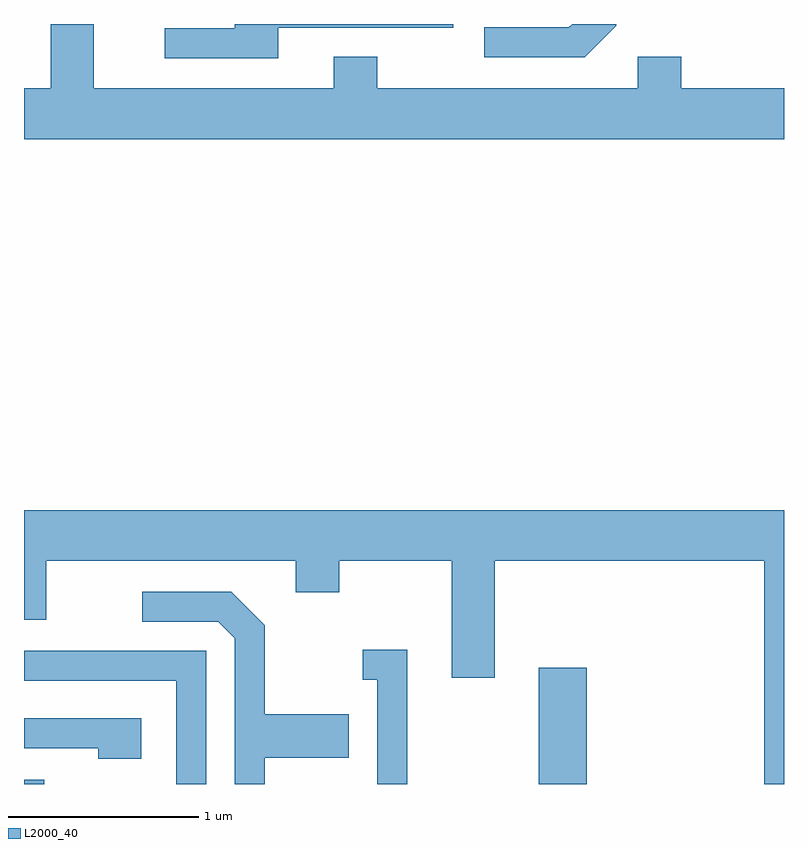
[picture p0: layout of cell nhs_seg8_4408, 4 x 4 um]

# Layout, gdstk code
import gdstk
lib = gdstk.Library(unit=1e-6, precision=1e-09)
def R(c, l, rs):  # rectangles x0, y0, x1, y1
    for r in rs: c.add(gdstk.rectangle(r[:2], r[2:], *l))
def P(c, l, *ps):  # polygons
    for p in ps: c.add(gdstk.Polygon(p, *l))
L2000_40 = (2000, 40)

nhs_seg8_4408 = lib.new_cell('nhs_seg8_4408')
R(nhs_seg8_4408, L2000_40, [(317.611,1846.342,317.718,1846.364), (320.321,1846.342,320.574,1846.954)])
P(nhs_seg8_4408, L2000_40, [(321.611,1850.004),(321.069,1850.004),(321.069,1850.169),(320.841,1850.169),(320.841,1850.004),(319.469,1850.004),(319.469,1850.169),(319.241,1850.169),(319.241,1850.004),(317.979,1850.004),(317.979,1850.342),(317.751,1850.342),(317.751,1850.004),(317.611,1850.004),(317.611,1849.736),(321.611,1849.736)],
  [(320.729,1850.334),(320.729,1850.342),(320.497,1850.342),(320.479,1850.324),(320.033,1850.324),(320.033,1850.166),(320.562,1850.166)],
  [(318.949,1850.321),(319.869,1850.321),(319.869,1850.342),(318.721,1850.342),(318.721,1850.319),(318.353,1850.319),(318.353,1850.161),(318.949,1850.161)],
  [(321.611,1847.784),(317.611,1847.784),(317.611,1847.206),(317.729,1847.206),(317.729,1847.516),(319.041,1847.516),(319.041,1847.351),(319.269,1847.351),(319.269,1847.516),(319.861,1847.516),(319.861,1846.901),(320.089,1846.901),(320.089,1847.516),(321.506,1847.516),(321.506,1846.342),(321.611,1846.342)],
  [(318.879,1846.481),(319.319,1846.481),(319.319,1846.709),(318.879,1846.709),(318.879,1847.177),(318.702,1847.354),(318.233,1847.354),(318.233,1847.196),(318.634,1847.196),(318.721,1847.109),(318.721,1846.342),(318.879,1846.342)],
  [(319.629,1847.049),(319.393,1847.049),(319.393,1846.891),(319.471,1846.891),(319.471,1846.342),(319.629,1846.342)],
  [(318.569,1847.044),(317.611,1847.044),(317.611,1846.886),(318.411,1846.886),(318.411,1846.342),(318.569,1846.342)],
  [(318.229,1846.689),(317.611,1846.689),(317.611,1846.531),(318.001,1846.531),(318.001,1846.476),(318.229,1846.476)])

lib.write_gds('nhs_seg8_4408.gds')
